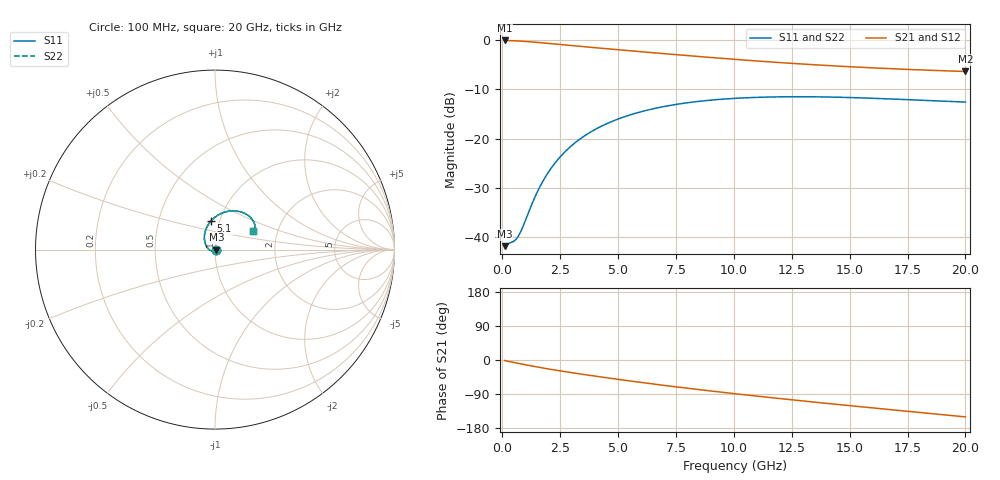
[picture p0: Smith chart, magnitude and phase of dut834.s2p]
! Touchstone file exported from HFSS 2024.1.0
!  File:  C:/UserFiles/LocalFiles/RDL_TSV_Batchsim/temp_RDL_TSV_834_1779918735.aedt
!  Generated:  06:01:42 AM May 28, 2026
!  Design:  RDL_TSV
!  Project:  temp_RDL_TSV_834_1779918735
!  Setup:  Setup1
!  Solution:  Sweep
! Variables:
!  dtsv = 11.13um
!  hbump = 3um
!  htsv = 50.04um
!  ldown = 127.15um
!  lrdl = 490.94um
!  p = 40
!  p1 = 43.63um
!  rhole = 10um
!  subl = 2345.21um
!  t = 450um
!  tdown = 4.95um
!  trdl = 4.56um
!  viad = 10um
!  wdown = 20.71um
!  wrdl = 25.84um
!  xbump = 18um
# GHz S MA R 50.000000
! Terminal data exported
! Port[1] = TM1_1_T1
! Port[2] = TM1_4_T1
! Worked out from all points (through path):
!   200 points, 100 MHz to 20 GHz, reference 50 ohm
!   highest |S21| = -0.07 dB at 100 MHz (marker M1); lowest = -6.4 dB at 20 GHz (marker M2)
!   group delay of S21, straight-line fit = 19.9 ps
!   lowest |S11| = -41.8 dB at 100 MHz (marker M3), VSWR 1.02, Z = 50.8 - j0.113 ohm
!   |S11| at or under -10 dB: start of sweep to end of sweep
!   |S22| runs from -41.8 to -11.5 dB; largest |S21 - S12| = 1e-14
!   S11 on the Smith chart (normalised r, x): 100 MHz: 1.02, -0.00; 5.1 GHz: 0.91, +0.30; 20 GHz: 1.49, +0.33
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0.1  0.008166 -7.8  0.9914 -1.3  0.9914 -1.3  0.008166 -7.8
! Gamma 0 0 0 0
! Port Impedance 50 0 50 0
0.5  0.009164 -61.7  0.9842 -6.5  0.9842 -6.5  0.009161 -61.8
0.7  0.01036 -93.4  0.979 -8.9  0.979 -8.9  0.01036 -93.4
0.9  0.01302 -121.5  0.9726 -11.4  0.9726 -11.4  0.01303 -121.6
1.3  0.02241 -160.2  0.9572 -16.1  0.9572 -16.1  0.02242 -160.2
1.5  0.02852 -173.2  0.9485 -18.3  0.9485 -18.3  0.02855 -173.2
1.8  0.03881 171.6  0.9348 -21.6  0.9348 -21.6  0.03885 171.6
2.1  0.04998 159.6  0.9208 -24.7  0.9208 -24.7  0.05004 159.6
2.7  0.07356 141.2  0.893 -30.7  0.893 -30.7  0.07365 141.2
3.1  0.08946 131.5  0.8752 -34.4  0.8752 -34.4  0.08958 131.5
3.5  0.1051 123.1  0.858 -38.1  0.858 -38.1  0.1053 123.1
4.2  0.1313 110.7  0.8294 -44.3  0.8294 -44.3  0.1315 110.7
5.1  0.1618 97.7  0.7949 -51.9  0.7949 -51.9  0.1621 97.7
5.9  0.1855 88.0  0.7659 -58.4  0.7659 -58.4  0.1859 88.0
6.8  0.2082 78.6  0.7349 -65.5  0.7349 -65.5  0.2086 78.6
8.3  0.2367 65.7  0.687 -76.7  0.687 -76.7  0.2372 65.7
10.1  0.2573 53.4  0.6364 -89.4  0.6364 -89.4  0.2579 53.4
11.7  0.2655 44.8  0.5979 -99.9  0.5979 -99.9  0.2662 44.8
13.4  0.2664 37.6  0.5637 -110.7  0.5637 -110.7  0.267 37.6
15  0.2619 32.6  0.5371 -120.5  0.5371 -120.5  0.2625 32.5
16.7  0.2536 28.9  0.514 -130.6  0.514 -130.6  0.2542 28.8
20  0.2354 26.7  0.4807 -150.2  0.4807 -150.2  0.236 26.5
